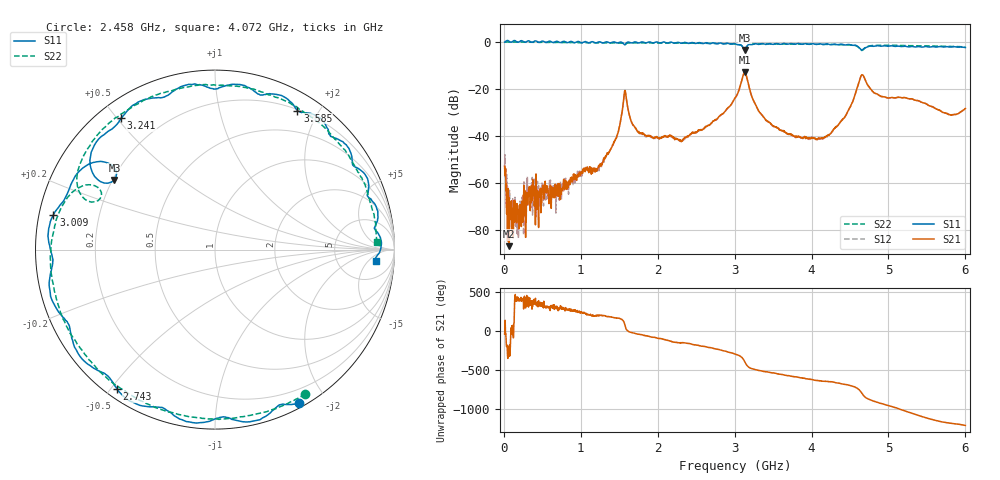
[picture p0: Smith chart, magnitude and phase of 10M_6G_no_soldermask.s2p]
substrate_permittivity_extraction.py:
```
#!/usr/bin/env python3
"""
Substrate Permittivity Extraction Using Ring Resonator
=====================================================
Calculates effective permittivity (ε_e) and substrate permittivity (ε_r)
from a microstrip ring‑resonator S‑parameter file and visualises the results.

How to run
----------
1. Install dependencies:
     pip install -r requirements.txt
2. Edit the CONFIG block below.
3. Execute:
     python substrate_permittivity_extraction.py
"""

# ── CONFIG ────────────────────────────────────────────────────────────
S2P_FILE = "Measurements/10M_6G_no_soldermask.s2p"
RING_LENGTH_MM  = 100.0       # Ring circumference (mm)
SUBSTRATE_H_MM  = 1.6        # Substrate thickness H (mm)
TRACE_W_MM      = 3         # Microstrip trace width W (mm)

MIN_PEAK_DB     = 16.0         # Peak detection threshold above median (dB)
SAVE_CSV        = "results.csv"   # Set to None to skip CSV export
SHOW_PLOT       = True            # Set False to suppress figure

# --- Calibration (set CALIBRATE_L = True to use this feature) ---
CALIBRATE_L = False  # Set to True to override L with a value estimated from a known resonance
CALIBRATION_FREQ_HZ = 1.0e9  # Known resonance frequency (Hz)
CALIBRATION_EPSILON = 4.2    # Known permittivity (ε_r or ε_eff)
CALIBRATION_MODE_N = 1       # Mode number for the known resonance
# ──────────────────────────────────────────────────────────────────────

# --- Imports ---
import numpy as np
import pandas as pd
import matplotlib.pyplot as plt
from scipy.signal import find_peaks
from skrf import Network

# Speed of light in vacuum (m/s)
C0 = 299_792_458.0

def microstrip_eps_r(eps_eff, h, w):
    """
    Calculate substrate permittivity (ε_r) from effective permittivity (ε_e),
    substrate height h, and trace width w using the inverted microstrip equation.
    """
    a = 1.0 / np.sqrt(1.0 + 12.0 * h / w)
    return (2.0 * eps_eff + a - 1.0) / (1.0 + a)

def find_s21_peaks(mag_db, min_peak_db):
    """
    Find resonance peaks in the S21 magnitude (in dB).
    Peaks are detected above the median + min_peak_db threshold.
    Returns the indices of the detected peaks.
    """
    threshold = np.median(mag_db) + min_peak_db
    print(f"Peak detection threshold: {threshold:.2f} dB")
    peaks, _ = find_peaks(mag_db, height=threshold)
    return peaks

def calculate_loss_tangent(freq, mag_db, peaks):
    """
    Estimate the loss tangent for each resonance peak using the -3 dB bandwidth method.
    Returns a list of loss tangent values for each peak.
    """
    loss_tangents = []
    for peak_idx in peaks:
        peak_mag = mag_db[peak_idx]
        half_mag = peak_mag - 3  # -3 dB point
        # Search left
        left = peak_idx
        while left > 0 and mag_db[left] > half_mag:
            left -= 1
        # Search right
        right = peak_idx
        while right < len(mag_db) - 1 and mag_db[right] > half_mag:
            right += 1
        f_left = freq[left]
        f_right = freq[right]
        f0 = freq[peak_idx]
        bw = f_right - f_left  # -3 dB bandwidth (Hz)
        # Q factor and loss tangent
        Q = f0 / bw if bw > 0 else np.nan
        # For a ring resonator, tan(delta) ≈ 1/Q
        loss_tangent = 1 / Q if Q > 0 else np.nan
        loss_tangents.append(loss_tangent)
    return loss_tangents

def estimate_effective_length(eps_known, freq_Hz, mode_n):
    """
    Back-calculate effective resonator length L_eff from known ε_r or ε_e and a known resonance.
    """
    return (C0 * mode_n) / (freq_Hz * np.sqrt(eps_known))

def main():
    # Load S-parameter data from Touchstone file
    ntwk = Network(S2P_FILE);
    freq = ntwk.f  # Frequency array (Hz)
    s21 = ntwk.s[:, 0, 1]  # S21 complex values
    mag_db = 20 * np.log10(np.abs(s21))  # Magnitude in dB

    # Find resonance peaks in S21
    peaks = find_s21_peaks(mag_db, MIN_PEAK_DB)
    freqs = freq[peaks]  # Resonant frequencies
    n_modes = np.arange(1, len(freqs) + 1)  # Mode numbers
    if len(freqs) == 0:
        raise RuntimeError("No peaks detected; adjust MIN_PEAK_DB or check data.")

    # Convert ring and substrate dimensions to meters
    if CALIBRATE_L:
        L = estimate_effective_length(CALIBRATION_EPSILON, CALIBRATION_FREQ_HZ, CALIBRATION_MODE_N)
        print(f"[Calibration] Using estimated L = {L*1e3:.2f} mm (from ε = {CALIBRATION_EPSILON}, f = {CALIBRATION_FREQ_HZ/1e9:.3f} GHz, n = {CALIBRATION_MODE_N})")
    else:
        L = RING_LENGTH_MM / 1e3
    h = SUBSTRATE_H_MM / 1e3
    w = TRACE_W_MM / 1e3

    # Calculate effective and substrate permittivity
    eps_eff = (C0 * n_modes / (freqs * L)) ** 2
    eps_r = microstrip_eps_r(eps_eff, h, w)

    # Print mode numbers
    print(f"n_modes: {n_modes}")

    # Calculate loss tangent for each peak
    loss_tangents = calculate_loss_tangent(freq, mag_db, peaks)

    # Create results DataFrame
    df = pd.DataFrame(
        dict(mode_n=n_modes, freq_Hz=freqs, eps_eff=eps_eff, eps_r=eps_r, loss_tan=loss_tangents)
    )

    # Print results to console
    print(df.to_string(index=False, float_format=lambda x: f"{x:.4g}"))
    print(f"Average ε_eff = {df.eps_eff.mean():.4g}")
    print(f"Average ε_r   = {df.eps_r.mean():.4g}")
    print(f"Average loss tangent = {df.loss_tan.mean():.4g}")

    # Optionally save results to CSV
    if SAVE_CSV:
        df.to_csv(SAVE_CSV, index=False)
        print(f"CSV saved → {SAVE_CSV}")

    # Plotting
    if SHOW_PLOT:
        # Separate S21 plot
        plt.figure(figsize=(8, 4))
        plt.plot(freq / 1e9, mag_db, lw=1.2, label="|S21|")
        plt.scatter(freqs / 1e9, mag_db[peaks], c="tab:orange", zorder=3, label="Detected Peaks")
        plt.title(f"Ring Resonator S21, L = {RING_LENGTH_MM:.1f} mm")
        plt.xlabel("Frequency [GHz]")
        plt.ylabel("S21 [dB]")
        plt.grid(True, ls=":")
        plt.legend()
        plt.tight_layout()
        plt.savefig("ring_resonator_S21.png", dpi=300)
        plt.show()

        # Permittivity plot
        fig, ax_eps = plt.subplots(figsize=(7, 4), constrained_layout=True)
        ax_eps.plot(freqs / 1e9, eps_eff, "o-", ms=4,
                    label="ε_e – effective/measured", color="tab:orange")
        ax_eps.plot(freqs / 1e9, eps_r, "o-", ms=4,
                    label="ε_r – back‑calculated", color="tab:green")
        ax_eps.axhline(eps_r.mean(), color="tab:green", ls="--", lw=0.8)
        ax_eps.axhline(eps_eff.mean(), color="tab:orange", ls="--", lw=0.8)
        ax_eps.set_title(
            f"Dielectric Constant for h = {SUBSTRATE_H_MM:.2f} mm, w = {TRACE_W_MM:.2f} mm"
        )
        ax_eps.set_xlabel("Frequency [GHz]")
        ax_eps.set_ylabel("Permittivity")
        ax_eps.grid(True, ls=":")
        ax_eps.legend()
        fig.savefig("ring_resonator_permittivity.png", dpi=300)
        plt.show()

if __name__ == "__main__":
    main()
```
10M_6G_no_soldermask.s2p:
!Keysight Technologies,N5234A,MY55441333,A.10.60.03
!Date: Thursday, July 10, 2025 14:02:57
!Correction: S11(Full 2 Port(1,2))
!S21(Full 2 Port(1,2))
!S12(Full 2 Port(1,2))
!S22(Full 2 Port(1,2))
!S2P File: Measurements: S11, S21, S12, S22:
# Hz S  RI  R 50
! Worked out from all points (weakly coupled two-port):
!   1601 points, 10 MHz to 6 GHz, reference 50 ohm
!   highest |S21| = -12.76 dB at 3.132 GHz (marker M1); lowest = -86.9 dB at 69.9 MHz (marker M2)
!   lowest |S11| = -3.3 dB at 3.132 GHz (marker M3), VSWR 5.27, Z = 10.4 + j15 ohm
!   |S11| at or under -10 dB: nowhere
!   |S22| runs from -3.5 to 0.1 dB; largest |S21 - S12| = 0.0044
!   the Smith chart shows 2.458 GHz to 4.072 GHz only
!   S11 on the Smith chart (normalised r, x): 2.458 GHz: 0.05, -1.69; 2.743 GHz: 0.03, -0.52; 3.009 GHz: 0.04, +0.11; 3.241 GHz: 0.07, +0.51; 3.585 GHz: 0.21, +1.74; 4.072 GHz: 13, -8
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1e7  1.003 -0.00921  0.0018 -0.00142  0.00147 0.00154  1.001 -0.0287
6.99e7  0.9973 -0.2878  3.59e-05 2.72e-05  -7.38e-05 -6.46e-05  0.9754 -0.2406
2.458412e9  0.4707 -0.854  -0.0117 -0.0018  -0.0113 -0.00174  0.5037 -0.8037
2.742938e9  -0.5457 -0.7767  -0.0152 0.0158  -0.0152 0.0156  -0.4478 -0.8228
3.005e9  -0.9102 0.1747  0.027 0.0588  0.0261 0.0581  -0.9127 0.0149
3.008744e9  -0.9003 0.1923  0.0285 0.0589  0.0282 0.0586  -0.9124 0.0294
3.132288e9  -0.5601 0.3874  0.1895 -0.1306  0.1894 -0.1273  -0.6393 0.2851
3.240856e9  -0.5235 0.7316  -0.0356 -0.0472  -0.0347 -0.047  -0.6552 0.6385
3.585281e9  0.4596 0.7739  -0.013 0.00308  -0.0133 0.00344  0.2912 0.8652
4.071969e9  0.8951 -0.0638  0.000444 0.00859  0.000735 0.00846  0.9 0.0404
6e9  0.5876 -0.4956  -0.0272 -0.0274  -0.0269 -0.0278  0.7264 -0.3126
